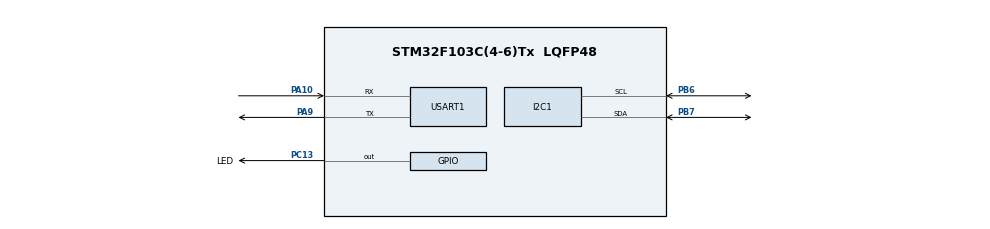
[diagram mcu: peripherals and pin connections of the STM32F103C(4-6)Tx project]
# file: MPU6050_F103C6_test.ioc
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Mcu.Family=STM32F1
Mcu.Name=STM32F103C(4-6)Tx
Mcu.Package=LQFP48
NVIC.I2C1_ER_IRQn=true\:0\:0\:false\:false\:true\:true\:true\:true
NVIC.I2C1_EV_IRQn=true\:0\:0\:false\:false\:true\:true\:true\:true
NVIC.PriorityGroup=NVIC_PRIORITYGROUP_4
PA10.Mode=Asynchronous
PA10.Signal=USART1_RX
PA9.Mode=Asynchronous
PA9.Signal=USART1_TX
PB6.Mode=I2C
PB6.Signal=I2C1_SCL
PB7.Mode=I2C
PB7.Signal=I2C1_SDA
PC13-TAMPER-RTC.GPIO_Label=LED
PC13-TAMPER-RTC.Signal=GPIO_Output
ProjectManager.HeapSize=0x200
ProjectManager.StackSize=0x400
ProjectManager.TargetToolchain=STM32CubeIDE
RCC.APB1Freq_Value=8000000
RCC.APB2Freq_Value=8000000
USART1.VirtualMode=VM_ASYNC
VP_SYS_VS_ND.Mode=No_Debug
board=custom

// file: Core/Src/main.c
/* USER CODE BEGIN Header */
/**
  ******************************************************************************
  * @file           : main.c
  * @brief          : Main program body
  ******************************************************************************
  * @attention
  *
  * Copyright (c) 2026 STMicroelectronics.
  * All rights reserved.
  *
  * This software is licensed under terms that can be found in the LICENSE file
  * in the root directory of this software component.
  * If no LICENSE file comes with this software, it is provided AS-IS.
  *
  ******************************************************************************
  */
/* USER CODE END Header */
#include "main.h"

/* USER CODE BEGIN Includes */
#include "MPU6050.h"
#include "string.h"
#include "stdio.h"
/* USER CODE END Includes */

I2C_HandleTypeDef hi2c1;

UART_HandleTypeDef huart1;

/* USER CODE BEGIN PV */
MPU6050_t myMPU6050;
volatile uint16_t debug_ax = 0.0f,debug_ay = 0.0f,debug_az = 0.0f;
volatile uint16_t debug_gx = 0.0f,debug_gy = 0.0f,debug_gz = 0.0f;
//volatile float debug_ax = 0.0f,debug_ay = 0.0f,debug_az = 0.0f;
//volatile float debug_gx = 0.0f,debug_gy = 0.0f,debug_gz = 0.0f;
char msg[100];
/* USER CODE END PV */

void SystemClock_Config(void);
static void MX_GPIO_Init(void);
static void MX_I2C1_Init(void);
static void MX_USART1_UART_Init(void);

int main(void)
{

  /* MCU Configuration--------------------------------------------------------*/

  /* Reset of all peripherals, Initializes the Flash interface and the Systick. */
  HAL_Init();

  /* Configure the system clock */
  SystemClock_Config();

  /* Initialize all configured peripherals */
  MX_GPIO_Init();
  MX_I2C1_Init();
  MX_USART1_UART_Init();
  /* USER CODE BEGIN 2 */
MPU6050_Default_Init(&hi2c1, &myMPU6050);
MPU6050_Calibrate(&myMPU6050, 100);

  /* USER CODE END 2 */

  /* Infinite loop */
  /* USER CODE BEGIN WHILE */
  while (1)
  {
	  MPU6050_Read_Scaled_IT(&myMPU6050);
	  //debug_ax = myMPU6050.scaled_data.ax;debug_ay = myMPU6050.scaled_data.ay;debug_az = myMPU6050.scaled_data.az;
	  //debug_gx = myMPU6050.scaled_data.gx;debug_gy = myMPU6050.scaled_data.gy;debug_gz = myMPU6050.scaled_data.gz;
	  debug_ax = myMPU6050.raw_data.ax;debug_ay = myMPU6050.raw_data.ay;debug_az = myMPU6050.raw_data.az;
	  debug_gx = myMPU6050.raw_data.gx;debug_gy = myMPU6050.raw_data.gy;debug_gz = myMPU6050.raw_data.gz;
	  int strlen = snprintf(msg, sizeof(msg),"ax:%d, ay:%d, az:%d | gx:%d, gy:%d, gz:%d\r\n",
	  		  	                        debug_ax, debug_ay, debug_az, debug_gx, debug_gy, debug_gz);
	  HAL_UART_Transmit(&huart1, (uint8_t *)msg, strlen, HAL_MAX_DELAY);
	  HAL_Delay(100);
    /* USER CODE END WHILE */

  }
}

void SystemClock_Config(void)
{
  RCC_OscInitTypeDef RCC_OscInitStruct = {0};
  RCC_ClkInitTypeDef RCC_ClkInitStruct = {0};

  /** Initializes the RCC Oscillators according to the specified parameters
  * in the RCC_OscInitTypeDef structure.
  */
  RCC_OscInitStruct.OscillatorType = RCC_OSCILLATORTYPE_HSI;
  RCC_OscInitStruct.HSIState = RCC_HSI_ON;
  RCC_OscInitStruct.HSICalibrationValue = RCC_HSICALIBRATION_DEFAULT;
  RCC_OscInitStruct.PLL.PLLState = RCC_PLL_NONE;
  if (HAL_RCC_OscConfig(&RCC_OscInitStruct) != HAL_OK)
  {
    Error_Handler();
  }

  /** Initializes the CPU, AHB and APB buses clocks
  */
  RCC_ClkInitStruct.ClockType = RCC_CLOCKTYPE_HCLK|RCC_CLOCKTYPE_SYSCLK
                              |RCC_CLOCKTYPE_PCLK1|RCC_CLOCKTYPE_PCLK2;
  RCC_ClkInitStruct.SYSCLKSource = RCC_SYSCLKSOURCE_HSI;
  RCC_ClkInitStruct.AHBCLKDivider = RCC_SYSCLK_DIV1;
  RCC_ClkInitStruct.APB1CLKDivider = RCC_HCLK_DIV1;
  RCC_ClkInitStruct.APB2CLKDivider = RCC_HCLK_DIV1;

  if (HAL_RCC_ClockConfig(&RCC_ClkInitStruct, FLASH_LATENCY_0) != HAL_OK)
  {
    Error_Handler();
  }
}

static void MX_I2C1_Init(void)
{

  hi2c1.Instance = I2C1;
  hi2c1.Init.ClockSpeed = 100000;
  hi2c1.Init.DutyCycle = I2C_DUTYCYCLE_2;
  hi2c1.Init.OwnAddress1 = 0;
  hi2c1.Init.AddressingMode = I2C_ADDRESSINGMODE_7BIT;
  hi2c1.Init.DualAddressMode = I2C_DUALADDRESS_DISABLE;
  hi2c1.Init.OwnAddress2 = 0;
  hi2c1.Init.GeneralCallMode = I2C_GENERALCALL_DISABLE;
  hi2c1.Init.NoStretchMode = I2C_NOSTRETCH_DISABLE;
  if (HAL_I2C_Init(&hi2c1) != HAL_OK)
  {
    Error_Handler();
  }

}

static void MX_USART1_UART_Init(void)
{

  huart1.Instance = USART1;
  huart1.Init.BaudRate = 115200;
  huart1.Init.WordLength = UART_WORDLENGTH_8B;
  huart1.Init.StopBits = UART_STOPBITS_1;
  huart1.Init.Parity = UART_PARITY_NONE;
  huart1.Init.Mode = UART_MODE_TX_RX;
  huart1.Init.HwFlowCtl = UART_HWCONTROL_NONE;
  huart1.Init.OverSampling = UART_OVERSAMPLING_16;
  if (HAL_UART_Init(&huart1) != HAL_OK)
  {
    Error_Handler();
  }

}

static void MX_GPIO_Init(void)
{
  GPIO_InitTypeDef GPIO_InitStruct = {0};

  /* GPIO Ports Clock Enable */
  __HAL_RCC_GPIOC_CLK_ENABLE();
  __HAL_RCC_GPIOA_CLK_ENABLE();
  __HAL_RCC_GPIOB_CLK_ENABLE();

  /*Configure GPIO pin Output Level */
  HAL_GPIO_WritePin(LED_GPIO_Port, LED_Pin, GPIO_PIN_RESET);

  /*Configure GPIO pin : LED_Pin */
  GPIO_InitStruct.Pin = LED_Pin;
  GPIO_InitStruct.Mode = GPIO_MODE_OUTPUT_PP;
  GPIO_InitStruct.Pull = GPIO_NOPULL;
  GPIO_InitStruct.Speed = GPIO_SPEED_FREQ_LOW;
  HAL_GPIO_Init(LED_GPIO_Port, &GPIO_InitStruct);

}

/* USER CODE BEGIN 4 */
void HAL_I2C_MemRxCpltCallback(I2C_HandleTypeDef *hi2c) {
	HAL_GPIO_TogglePin(LED_GPIO_Port, LED_Pin);
	if (hi2c == &hi2c1) {
        MPU6050_Interrupt_Handler(&myMPU6050);
    }
}
/* USER CODE END 4 */

void Error_Handler(void)
{
  __disable_irq();
  while (1)
  {
  }
}
